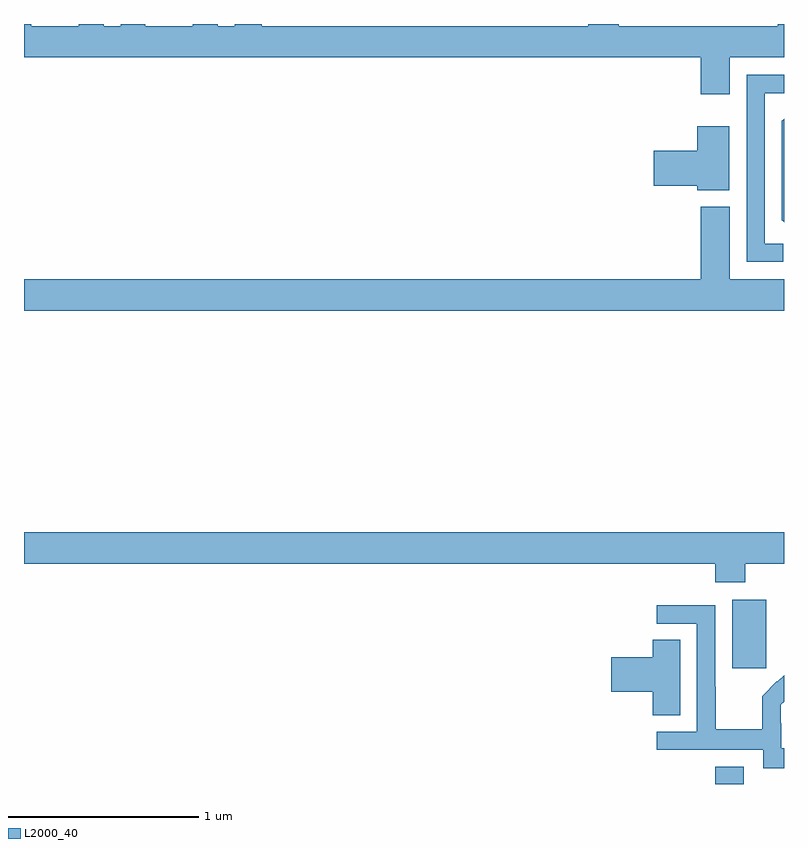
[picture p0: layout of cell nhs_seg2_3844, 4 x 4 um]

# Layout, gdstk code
import gdstk
lib = gdstk.Library(unit=1e-6, precision=1e-09)
def R(c, l, rs):  # rectangles x0, y0, x1, y1
    for r in rs: c.add(gdstk.rectangle(r[:2], r[2:], *l))
def P(c, l, *ps):  # polygons
    for p in ps: c.add(gdstk.Polygon(p, *l))
L2000_40 = (2000, 40)

nhs_seg2_3844 = lib.new_cell('nhs_seg2_3844')
R(nhs_seg2_3844, L2000_40, [(316.637,655.8,316.789,655.891), (316.727,656.409,316.906,656.77)])
P(nhs_seg2_3844, L2000_40, [(316.714,659.624),(317,659.624),(317,659.8),(316.967,659.8),(316.967,659.788),(316.131,659.788),(316.131,659.8),(315.971,659.8),(315.971,659.788),(314.252,659.788),(314.252,659.8),(314.108,659.8),(314.108,659.788),(314.02,659.788),(314.02,659.8),(313.889,659.8),(313.889,659.788),(313.639,659.788),(313.639,659.8),(313.508,659.8),(313.508,659.788),(313.42,659.788),(313.42,659.8),(313.289,659.8),(313.289,659.788),(313.039,659.788),(313.039,659.8),(313,659.8),(313,659.624),(316.562,659.624),(316.562,659.43),(316.714,659.43)],
  [(316.995,658.643),(316.899,658.643),(316.899,659.436),(317,659.436),(317,659.532),(316.803,659.532),(316.803,658.548),(316.995,658.548)],
  [(317,659.301),(316.989,659.29),(316.989,658.768),(317,658.757)],
  [(316.711,659.263),(316.544,659.263),(316.544,659.132),(316.314,659.132),(316.314,658.949),(316.544,658.949),(316.544,658.925),(316.711,658.925)],
  [(317,658.456),(316.714,658.456),(316.714,658.837),(316.562,658.837),(316.562,658.456),(313,658.456),(313,658.292),(317,658.292)],
  [(316.797,656.96),(317,656.96),(317,657.124),(313,657.124),(313,656.96),(316.637,656.96),(316.637,656.861),(316.797,656.861)],
  [(317,655.987),(316.986,655.987),(316.986,656.121),(316.984,656.121),(316.984,656.218),(317,656.234),(317,656.372),(316.965,656.337),(316.962,656.34),(316.885,656.263),(316.885,656.089),(316.641,656.089),(316.641,656.312),(316.638,656.312),(316.638,656.742),(316.329,656.742),(316.329,656.643),(316.542,656.643),(316.542,656.076),(316.329,656.076),(316.329,655.98),(316.89,655.98),(316.89,655.883),(317,655.883)],
  [(316.453,656.558),(316.31,656.558),(316.31,656.468),(316.092,656.468),(316.092,656.285),(316.31,656.285),(316.31,656.161),(316.453,656.161)])

lib.write_gds('nhs_seg2_3844.gds')
